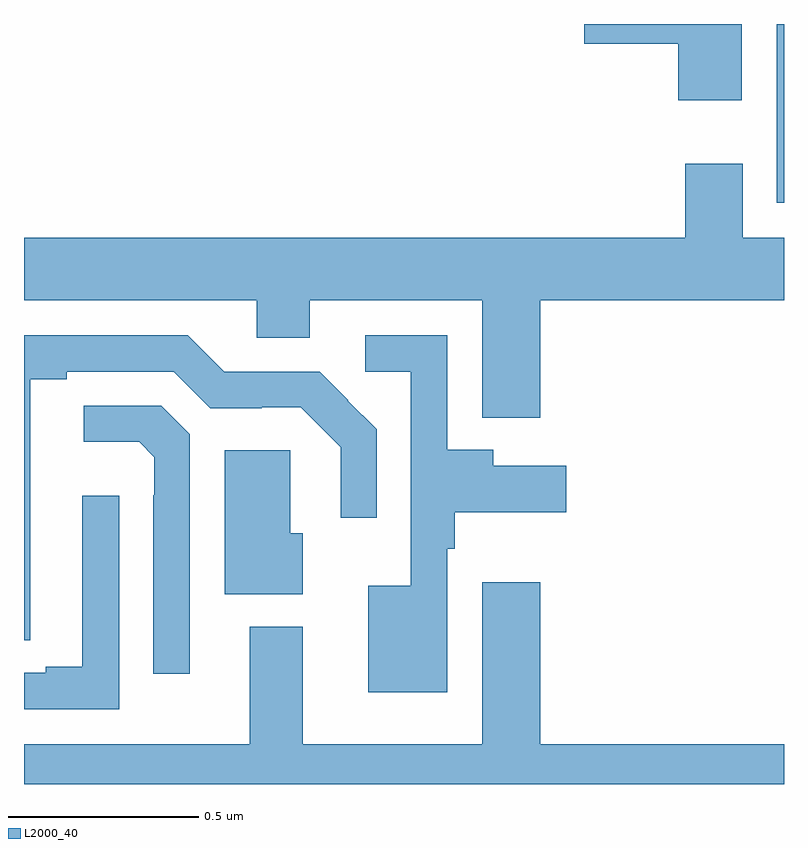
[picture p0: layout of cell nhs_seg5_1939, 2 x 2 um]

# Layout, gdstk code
import gdstk
lib = gdstk.Library(unit=1e-6, precision=1e-09)
def R(c, l, rs):  # rectangles x0, y0, x1, y1
    for r in rs: c.add(gdstk.rectangle(r[:2], r[2:], *l))
def P(c, l, *ps):  # polygons
    for p in ps: c.add(gdstk.Polygon(p, *l))
L2000_40 = (2000, 40)

nhs_seg5_1939 = lib.new_cell('nhs_seg5_1939')
R(nhs_seg5_1939, L2000_40, [(138.981,878.328,139,878.799)])
P(nhs_seg5_1939, L2000_40, [(138.889,878.799),(138.474,878.799),(138.474,878.747),(138.722,878.747),(138.722,878.598),(138.889,878.598)],
  [(138.359,878.072),(139,878.072),(139,878.236),(138.892,878.236),(138.892,878.431),(138.74,878.431),(138.74,878.236),(137,878.236),(137,878.072),(137.612,878.072),(137.612,877.973),(137.752,877.973),(137.752,878.072),(138.206,878.072),(138.206,877.763),(138.359,877.763)],
  [(137.016,877.285),(137.017,877.285),(137.017,877.864),(137.113,877.864),(137.113,877.884),(137.394,877.884),(137.49,877.788),(137.626,877.788),(137.626,877.79),(137.728,877.79),(137.834,877.685),(137.834,877.5),(137.928,877.5),(137.928,877.732),(137.852,877.808),(137.853,877.809),(137.778,877.884),(137.527,877.884),(137.431,877.98),(137,877.98),(137,877.177),(137.016,877.177)],
  [(138.114,877.418),(138.134,877.418),(138.134,877.514),(138.427,877.514),(138.427,877.636),(138.235,877.636),(138.235,877.678),(138.114,877.678),(138.114,877.98),(137.898,877.98),(137.898,877.884),(138.018,877.884),(138.018,877.321),(137.906,877.321),(137.906,877.04),(138.114,877.04)],
  [(137.436,877.719),(137.361,877.794),(137.157,877.794),(137.157,877.7),(137.303,877.7),(137.343,877.659),(137.343,877.559),(137.34,877.559),(137.34,877.089),(137.436,877.089)],
  [(137.734,877.459),(137.701,877.459),(137.701,877.677),(137.528,877.677),(137.528,877.298),(137.734,877.298)],
  [(137.25,877.558),(137.153,877.558),(137.153,877.107),(137.057,877.107),(137.057,877.092),(137,877.092),(137,876.996),(137.25,876.996)],
  [(137,876.799),(139,876.799),(139,876.904),(138.359,876.904),(138.359,877.33),(138.206,877.33),(138.206,876.904),(137.734,876.904),(137.734,877.213),(137.594,877.213),(137.594,876.904),(137,876.904)])

lib.write_gds('nhs_seg5_1939.gds')
